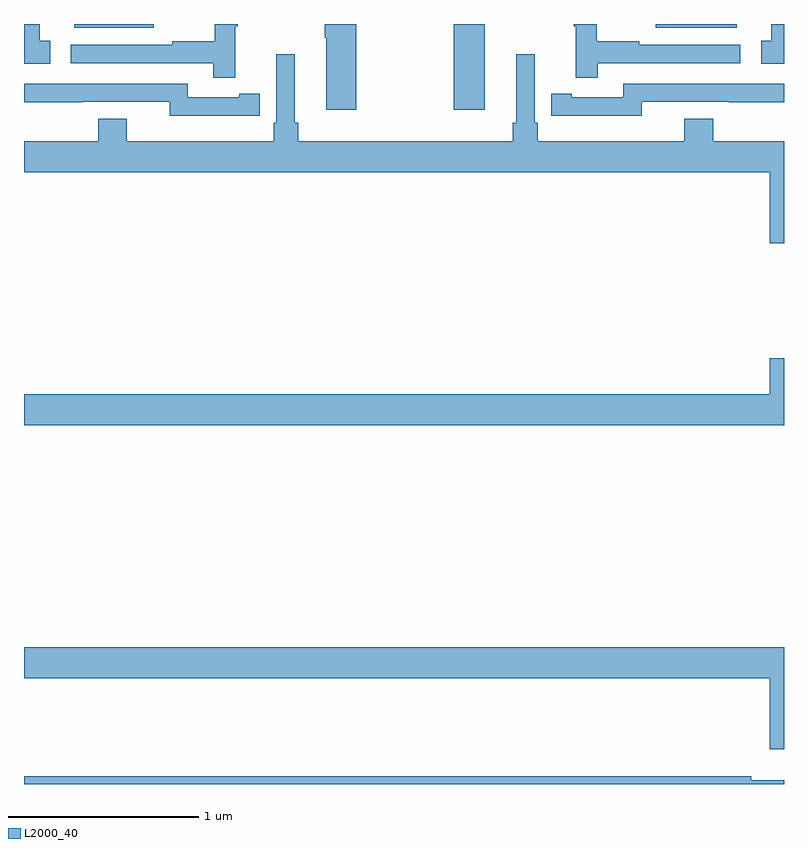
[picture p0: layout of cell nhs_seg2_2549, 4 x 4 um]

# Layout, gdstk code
import gdstk
lib = gdstk.Library(unit=1e-6, precision=1e-09)
def R(c, l, rs):  # rectangles x0, y0, x1, y1
    for r in rs: c.add(gdstk.rectangle(r[:2], r[2:], *l))
def P(c, l, *ps):  # polygons
    for p in ps: c.add(gdstk.Polygon(p, *l))
L2000_40 = (2000, 40)

nhs_seg2_2549 = lib.new_cell('nhs_seg2_2549')
R(nhs_seg2_2549, L2000_40, [(247.262,597.348,247.426,597.8), (245.264,597.779,245.683,597.8), (248.325,597.779,248.752,597.8)])
P(nhs_seg2_2549, L2000_40, [(248.021,597.594),(248.77,597.594),(248.77,597.69),(248.237,597.69),(248.237,597.71),(248.014,597.71),(248.014,597.8),(247.893,597.8),(247.893,597.787),(247.904,597.787),(247.904,597.516),(248.021,597.516)],
  [(245.137,597.711),(245.084,597.711),(245.084,597.8),(245,597.8),(245,597.591),(245.137,597.591)],
  [(246.749,597.8),(246.583,597.8),(246.583,597.727),(246.59,597.727),(246.59,597.348),(246.749,597.348)],
  [(249,597.8),(248.933,597.8),(248.933,597.711),(248.88,597.711),(248.88,597.591),(249,597.591)],
  [(246.113,597.787),(246.124,597.787),(246.124,597.8),(246.003,597.8),(246.003,597.71),(245.779,597.71),(245.779,597.69),(245.247,597.69),(245.247,597.594),(245.995,597.594),(245.995,597.516),(246.113,597.516)],
  [(249,597.184),(248.627,597.184),(248.627,597.301),(248.474,597.301),(248.474,597.184),(247.703,597.184),(247.703,597.28),(247.689,597.28),(247.689,597.64),(247.592,597.64),(247.592,597.28),(247.573,597.28),(247.573,597.184),(246.443,597.184),(246.443,597.28),(246.424,597.28),(246.424,597.64),(246.327,597.64),(246.327,597.28),(246.314,597.28),(246.314,597.184),(245.542,597.184),(245.542,597.301),(245.39,597.301),(245.39,597.184),(245,597.184),(245,597.02),(248.924,597.02),(248.924,596.646),(249,596.646)],
  [(246.134,597.318),(246.242,597.318),(246.242,597.434),(246.134,597.434),(246.134,597.414),(245.862,597.414),(245.862,597.486),(245,597.486),(245,597.389),(245.306,597.389),(245.306,597.39),(245.766,597.39),(245.766,597.317),(246.134,597.317)],
  [(248.25,597.39),(248.71,597.39),(248.71,597.389),(249,597.389),(249,597.486),(248.154,597.486),(248.154,597.414),(247.882,597.414),(247.882,597.434),(247.774,597.434),(247.774,597.318),(247.882,597.318),(247.882,597.317),(248.25,597.317)],
  [(249,596.041),(248.924,596.041),(248.924,595.852),(245,595.852),(245,595.688),(249,595.688)],
  [(249,594.52),(245,594.52),(245,594.356),(248.924,594.356),(248.924,593.982),(249,593.982)],
  [(249,593.821),(248.828,593.821),(248.828,593.84),(245,593.84),(245,593.8),(249,593.8)])

lib.write_gds('nhs_seg2_2549.gds')
